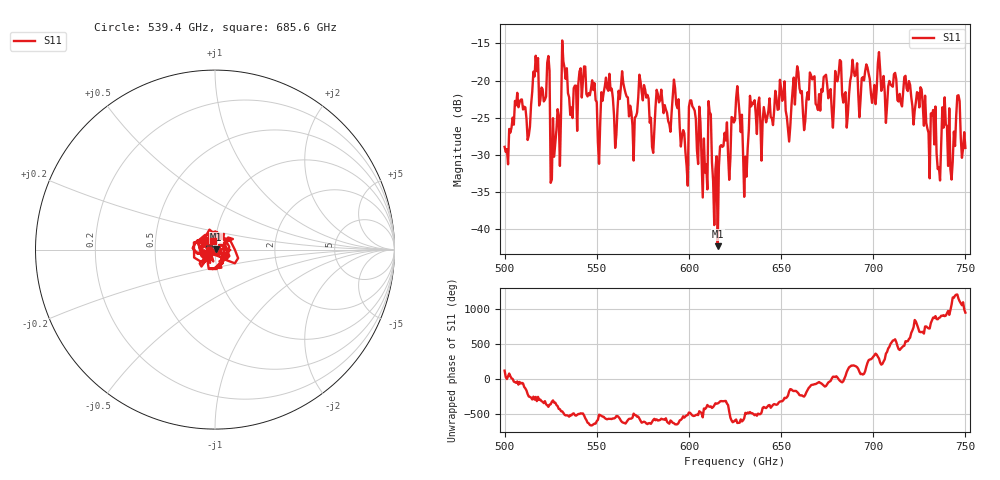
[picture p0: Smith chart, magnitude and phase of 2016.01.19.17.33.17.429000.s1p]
!Created with skrf (http://scikit-rf.org).
# GHz S RI R 50.0
!freq ReS11 ImS11
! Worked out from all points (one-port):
!   401 points, 500 GHz to 750 GHz, reference 50 ohm
!   lowest |S11| = -42.3 dB at 615.6 GHz (marker M1), VSWR 1.02, Z = 50.8 + j0.178 ohm
!   |S11| at or under -10 dB: start of sweep to end of sweep
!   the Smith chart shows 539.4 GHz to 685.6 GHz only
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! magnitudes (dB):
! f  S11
! 500 GHz  -28.9
! 506.9 GHz  -21.7
! 513.1 GHz  -27.4
! 516.9 GHz  -16.7
! 523.1 GHz  -17.6
! 526.2 GHz  -25.1
! 531.2 GHz  -14.6
! 542.5 GHz  -20.0
! 550.6 GHz  -28.4
! 562.5 GHz  -22.5
! 570.6 GHz  -25.0
! 574.4 GHz  -21.5
! 580 GHz  -28.9
! 593.8 GHz  -23.7
! 598.1 GHz  -29.7
! 601.9 GHz  -23.5
! 615.6 GHz  -42.3
! 625 GHz  -25.3
! 630.6 GHz  -30.3
! 634.4 GHz  -23.0
! 656.2 GHz  -21.4
! 687.5 GHz  -20.0
! 718.8 GHz  -21.4
! 735.6 GHz  -31.6
! 738.8 GHz  -22.3
! 741.9 GHz  -32.0
! 746.2 GHz  -22.0
! 750 GHz  -29.1
